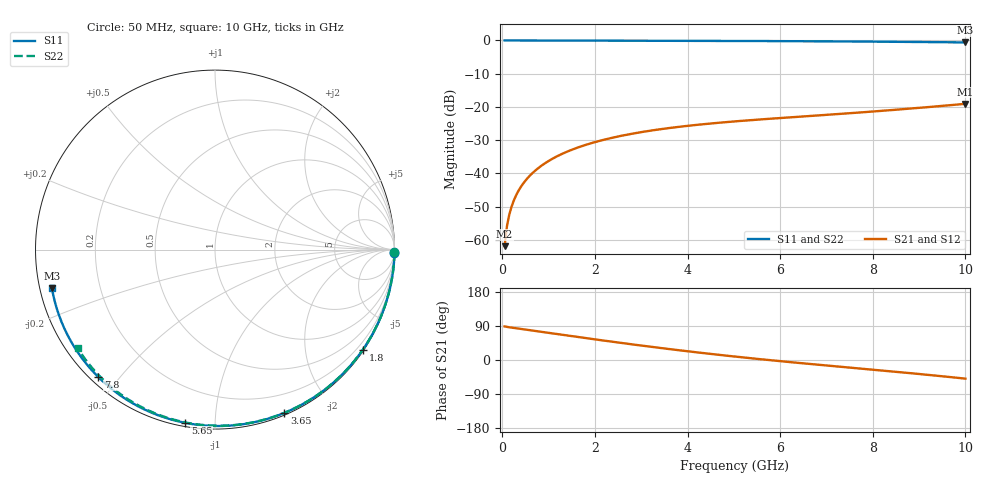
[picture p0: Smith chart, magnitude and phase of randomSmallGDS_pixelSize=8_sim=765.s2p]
! freq	dB(S11)	phase(S11)	dB(S12)	phase(S12)
!  dB(S21)	phase(S21)	dB(S22)	phase(S22)
!S-par simulation data
#  GHz  S  DB  R 50
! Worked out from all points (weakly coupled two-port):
!   200 points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, 50 MHz to 10 GHz, reference 50 ohm
!   highest |S21| = -19.07 dB at 10 GHz (marker M1); lowest = -61.9 dB at 50 MHz (marker M2)
!   lowest |S11| = -0.6 dB at 10 GHz (marker M3), VSWR 29.26, Z = 1.73 - j5.86 ohm
!   |S11| at or under -10 dB: nowhere
!   |S22| runs from -0.5 to 0.0 dB; largest |S21 - S12| = 0
!   S11 on the Smith chart (normalised r, x): 50 MHz: open; 1.8 GHz: 0.03, -3.26; 3.65 GHz: 0.02, -1.51; 5.65 GHz: 0.02, -0.84; 7.8 GHz: 0.02, -0.44; 10 GHz: 0.03, -0.12
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0.05  -0.00 -1.0  -61.90 88.6  -61.90 88.6  -0.00 -0.9
0.1  -0.00 -1.9  -55.93 87.4  -55.93 87.4  -0.00 -1.7
0.15  -0.00 -2.9  -52.46 86.3  -52.46 86.3  -0.00 -2.6
0.2  -0.00 -3.9  -50.01 85.4  -50.01 85.4  -0.00 -3.4
0.35  -0.01 -6.8  -45.23 82.9  -45.23 82.9  -0.00 -6.0
0.5  -0.01 -9.6  -42.17 80.4  -42.17 80.4  -0.01 -8.5
0.7  -0.02 -13.4  -39.29 76.9  -39.29 76.9  -0.01 -11.9
1  -0.02 -19.1  -36.26 71.7  -36.26 71.7  -0.02 -16.9
1.35  -0.03 -25.7  -33.76 65.6  -33.76 65.6  -0.03 -22.7
1.75  -0.04 -33.2  -31.65 58.7  -31.65 58.7  -0.04 -29.3
1.8  -0.05 -34.1  -31.42 57.9  -31.42 57.9  -0.04 -30.1
2.6  -0.07 -48.7  -28.61 44.5  -28.61 44.5  -0.06 -43.0
3.4  -0.09 -62.7  -26.73 31.9  -26.73 31.9  -0.08 -55.6
3.65  -0.10 -67.0  -26.27 28.2  -26.27 28.2  -0.09 -59.4
4.35  -0.12 -78.8  -25.19 18.1  -25.19 18.1  -0.11 -69.9
5.05  -0.15 -90.2  -24.32 8.7  -24.32 8.7  -0.14 -80.0
5.65  -0.18 -99.7  -23.69 1.2  -23.69 1.2  -0.16 -88.4
6.7  -0.24 -115.9  -22.68 -11.1  -22.68 -11.1  -0.22 -102.6
7.8  -0.33 -132.5  -21.60 -23.3  -21.60 -23.3  -0.29 -116.8
8.35  -0.38 -140.8  -21.01 -29.4  -21.01 -29.4  -0.34 -123.8
9.2  -0.48 -153.9  -20.05 -39.3  -20.05 -39.3  -0.43 -134.5
10  -0.59 -166.6  -19.07 -49.2  -19.07 -49.2  -0.53 -144.5
